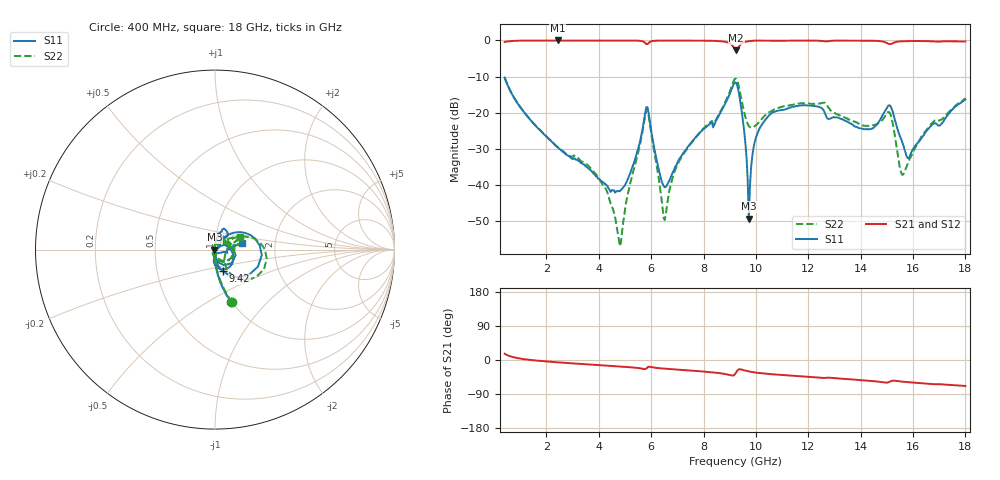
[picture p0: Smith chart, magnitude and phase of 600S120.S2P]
!  American Technical Ceramics  Date:  10/26/00
!  One Norden Lane
!  Huntington Station,  NY.  11746-2102
!  Tel:  (631) 622-4700  Fax:  (631) 622-4748
!  Part Number  600S120JW  Mounting Orientation: Horizontal
!  Description: Ultra Low ESR Microwave capacitors
!  Application: Coupling, Bypass, Tuning, DC Block
!  Filters, Matching
# GHZ S DB R 50
! Freq  |S11|  S11 Ph  |S21|  S21 Ph  |S12|  S12 Ph  |S22|  S22 Ph
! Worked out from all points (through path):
!   401 points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, 400 MHz to 18 GHz, reference 50 ohm
!   highest |S21| = -0.04 dB at 2.424 GHz (marker M1); lowest = -2.8 dB at 9.244 GHz (marker M2)
!   group delay of S21, straight-line fit = 11.3 ps
!   lowest |S11| = -49.2 dB at 9.728 GHz (marker M3), VSWR 1.01, Z = 49.7 - j0.0221 ohm
!   |S11| at or under -10 dB: start of sweep to end of sweep
!   |S22| runs from -56.9 to -10.3 dB; largest |S21 - S12| = 0.005
!   S11 on the Smith chart (normalised r, x): 400 MHz: 0.99, -0.64; 9.42 GHz: 1.06, -0.26; 18 GHz: 1.34, +0.10
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0.4  -10.30 -72.7  -0.48 16.7  -0.48 16.7  -10.27 -71.9
2.424  -29.57 -88.0  -0.04 -6.2  -0.05 -6.2  -29.48 -93.3
3.348  -33.97 -90.2  -0.05 -10.5  -0.05 -10.5  -33.50 -92.2
4.272  -39.89 -68.9  -0.05 -14.7  -0.04 -14.7  -41.09 -104.7
4.8  -41.71 -22.3  -0.05 -17.1  -0.04 -17.1  -56.87 167.4
5.812  -18.49 -14.5  -1.02 -22.6  -1.00 -22.6  -19.22 5.0
6.296  -35.94 -73.0  -0.08 -21.6  -0.08 -21.6  -38.53 -81.0
6.516  -40.61 -24.0  -0.07 -22.9  -0.06 -22.9  -49.64 -6.2
7.088  -32.57 40.0  -0.06 -25.8  -0.06 -25.8  -33.09 57.3
9.2  -11.62 -6.8  -2.53 -37.6  -2.51 -37.6  -10.67 -9.9
9.244  -11.78 -21.6  -2.77 -32.9  -2.73 -32.8  -10.63 -21.7
9.42  -17.78 -69.8  -1.12 -24.7  -1.11 -24.8  -15.32 -56.6
9.728  -49.24 -176.3  -0.23 -30.1  -0.23 -30.1  -23.66 -33.3
9.992  -27.09 84.5  -0.09 -33.1  -0.08 -33.1  -23.45 0.1
10.432  -21.26 77.7  -0.09 -36.5  -0.09 -36.6  -20.28 18.1
12.148  -18.08 62.2  -0.09 -45.1  -0.07 -45.1  -17.56 23.2
14.216  -24.51 36.4  -0.11 -54.0  -0.10 -54.1  -23.64 29.9
15.096  -17.94 -51.3  -1.04 -57.8  -1.02 -57.8  -19.87 -26.7
15.624  -28.84 -91.9  -0.26 -57.4  -0.24 -57.4  -37.08 155.4
15.844  -32.52 -55.7  -0.22 -58.6  -0.21 -58.6  -33.27 100.1
16.636  -24.03 -12.5  -0.24 -63.0  -0.23 -63.0  -23.71 56.0
18  -16.31 14.3  -0.31 -68.5  -0.31 -68.5  -16.05 27.5
